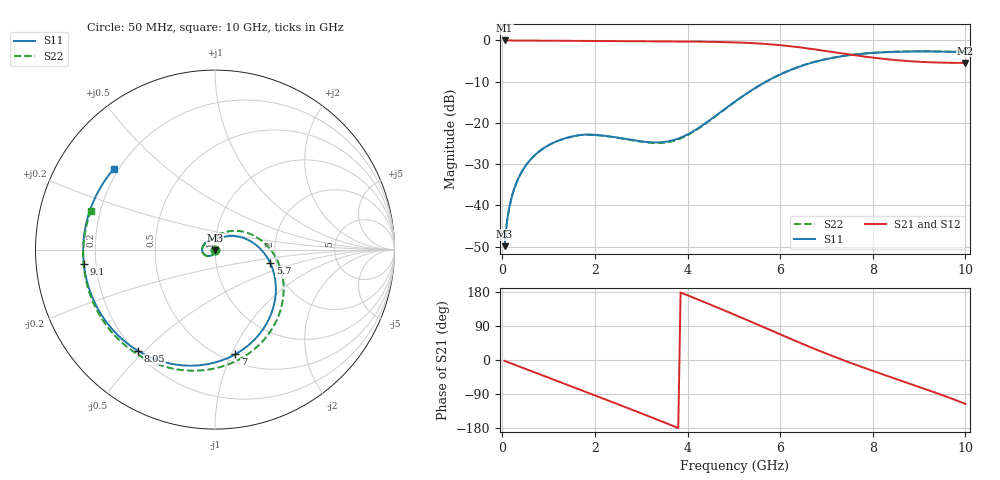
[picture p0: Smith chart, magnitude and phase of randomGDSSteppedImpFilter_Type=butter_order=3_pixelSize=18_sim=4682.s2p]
! freq	dB(S11)	phase(S11)	dB(S12)	phase(S12)
!  dB(S21)	phase(S21)	dB(S22)	phase(S22)
!S-par simulation data
#  GHz  S  DB  R 50
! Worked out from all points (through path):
!   200 points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, 50 MHz to 10 GHz, reference 50 ohm
!   highest |S21| = 0.00 dB at 50 MHz (marker M1); lowest = -5.5 dB at 10 GHz (marker M2)
!   group delay of S21, straight-line fit = 135 ps
!   lowest |S11| = -49.9 dB at 50 MHz (marker M3), VSWR 1.01, Z = 50 - j0.32 ohm
!   |S11| at or under -10 dB: start of sweep to 5.694 GHz
!   |S22| runs from -49.9 to -2.6 dB; largest |S21 - S12| = 0
!   S11 on the Smith chart (normalised r, x): 50 MHz: 1.00, -0.01; 5.7 GHz: 1.86, -0.32; 7 GHz: 0.57, -1.03; 8.05 GHz: 0.21, -0.48; 9.1 GHz: 0.15, -0.05; 10 GHz: 0.18, +0.34
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0.05  -49.88 -87.6  -0.00 -2.4  -0.00 -2.4  -49.88 -87.5
0.1  -44.03 -92.4  -0.01 -4.7  -0.01 -4.7  -44.03 -92.2
0.2  -38.10 -98.7  -0.02 -9.4  -0.02 -9.4  -38.10 -98.4
0.5  -30.44 -114.4  -0.03 -23.4  -0.03 -23.4  -30.44 -113.6
1.15  -24.58 -146.1  -0.07 -53.7  -0.07 -53.7  -24.59 -144.1
1.75  -22.85 -176.0  -0.11 -81.7  -0.11 -81.7  -22.87 -172.1
2.55  -23.65 143.3  -0.16 -119.3  -0.16 -119.3  -23.71 152.1
3.4  -24.71 96.7  -0.21 -159.9  -0.21 -159.9  -24.89 114.6
3.8  -23.79 75.6  -0.24 -179.3  -0.24 -179.3  -24.00 96.2
4.2  -21.49 56.8  -0.29 160.9  -0.29 160.9  -21.66 76.8
4.6  -18.33 38.9  -0.36 140.8  -0.36 140.8  -18.44 56.4
5.05  -14.61 18.0  -0.48 117.7  -0.48 117.7  -14.66 32.7
5.7  -9.96 -13.9  -0.86 83.5  -0.86 83.5  -9.97 -1.8
6.25  -7.04 -41.8  -1.44 54.5  -1.44 54.5  -7.03 -30.8
6.7  -5.35 -64.4  -2.09 31.5  -2.09 31.5  -5.32 -53.7
7  -4.52 -79.1  -2.58 16.8  -2.58 16.8  -4.49 -68.3
7.5  -3.57 -102.6  -3.41 -6.6  -3.41 -6.6  -3.54 -91.3
8.05  -2.99 -127.3  -4.23 -30.8  -4.23 -30.8  -2.95 -115.0
8.35  -2.82 -140.5  -4.61 -43.6  -4.61 -43.6  -2.77 -127.4
9.1  -2.67 -173.9  -5.23 -75.2  -5.23 -75.2  -2.62 -158.1
9.55  -2.72 164.7  -5.40 -94.9  -5.40 -94.9  -2.67 -177.1
10  -2.84 141.4  -5.46 -115.8  -5.46 -115.8  -2.80 162.7
